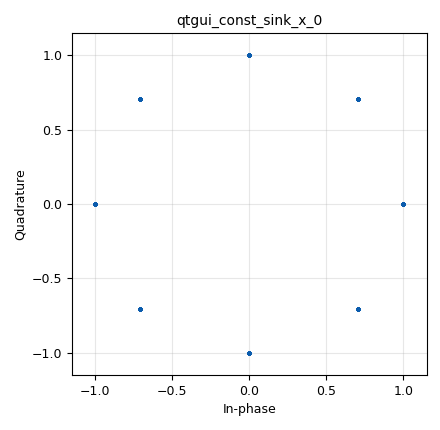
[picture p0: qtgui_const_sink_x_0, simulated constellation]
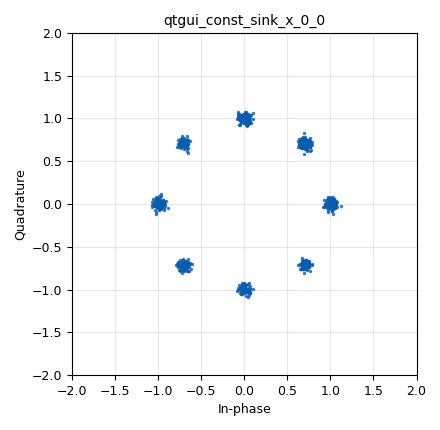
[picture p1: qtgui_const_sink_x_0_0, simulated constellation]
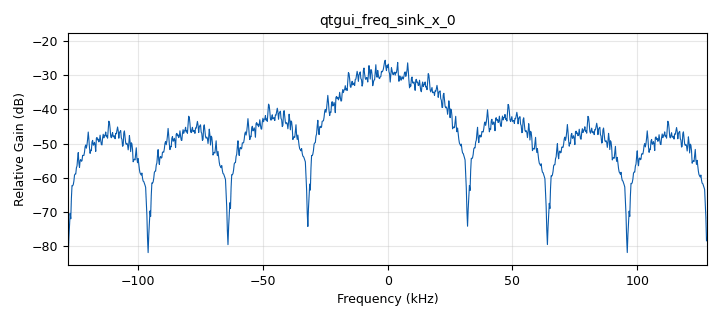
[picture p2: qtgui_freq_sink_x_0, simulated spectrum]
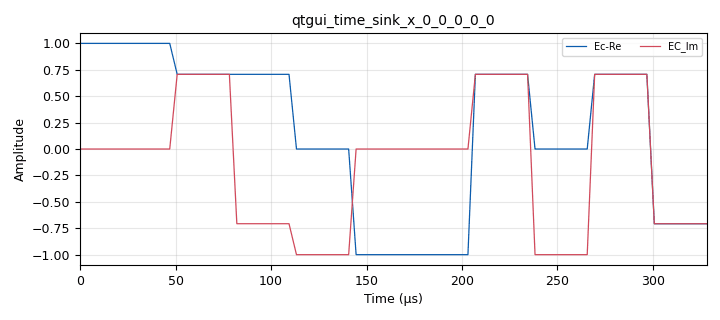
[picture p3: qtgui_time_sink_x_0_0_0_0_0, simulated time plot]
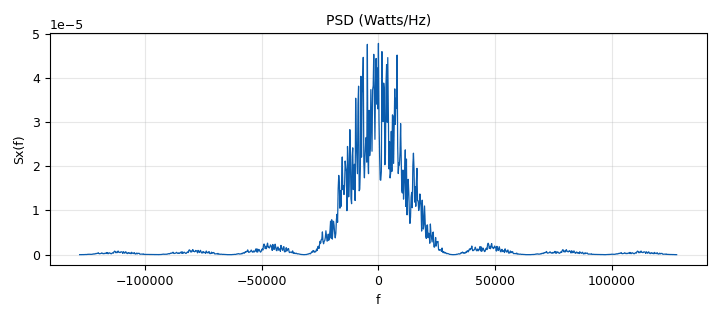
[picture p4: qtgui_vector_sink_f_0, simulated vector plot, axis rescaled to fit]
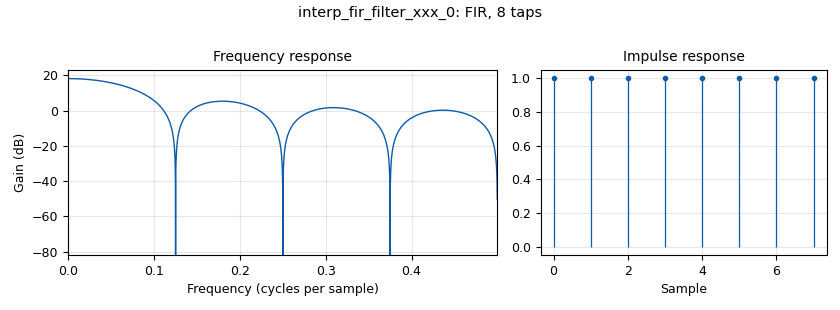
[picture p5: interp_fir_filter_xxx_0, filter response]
options:
  parameters:
    generate_options: qt_gui
    id: MPSK
    output_language: python
    title: MPSK
  states: {}

blocks:
- name: M
  id: variable
  parameters:
    value: '8'
  states: {}
- name: N
  id: variable
  parameters:
    value: '1024'
  states: {}
- name: Nbps
  id: variable
  parameters:
    value: int(math.log(M,2))
  states: {}
- name: Rb
  id: variable
  parameters:
    value: '32000'
  states: {}
- name: Rs
  id: variable
  parameters:
    value: Rb
  states: {}
- name: Sps
  id: variable
  parameters:
    value: len(h)
  states: {}
- name: h
  id: variable
  parameters:
    value: (1. ,1. ,1. ,1. ,1. ,1. ,1. ,1.)
  states: {}
- name: samp_rate
  id: variable
  parameters:
    value: Rs*Sps
  states: {}
- name: analog_const_source_x_0
  id: analog_const_source_x
  parameters:
    const: '1.'
    type: float
  states: {}
- name: analog_noise_source_x_0
  id: analog_noise_source_x
  parameters:
    amp: '0.05'
    noise_type: analog.GR_GAUSSIAN
    seed: '0'
    type: complex
  states: {}
- name: analog_random_source_x_0
  id: analog_random_source_x
  parameters:
    max: '2'
    min: '0'
    num_samps: '1000'
    repeat: 'True'
    type: byte
  states: {}
- name: blocks_add_xx_0
  id: blocks_add_xx
  parameters:
    type: complex
  states: {}
- name: blocks_char_to_float_0
  id: blocks_char_to_float
  parameters:
    scale: '1'
  states: {state: disabled}
- name: blocks_char_to_float_0_0
  id: blocks_char_to_float
  parameters:
    scale: '1'
  states: {state: disabled}
- name: blocks_char_to_float_0_0_0
  id: blocks_char_to_float
  parameters:
    scale: '1'
  states: {}
- name: blocks_complex_to_mag_squared_0
  id: blocks_complex_to_mag_squared
  parameters:
    vlen: N
  states: {}
- name: blocks_multiply_const_vxx_0
  id: blocks_multiply_const_vxx
  parameters:
    const: 2*math.pi/M
    type: float
  states: {}
- name: blocks_multiply_const_vxx_1
  id: blocks_multiply_const_vxx
  parameters:
    const: '[1/(N*samp_rate)]*N'
    type: float
    vlen: N
  states: {}
- name: blocks_repack_bits_bb_0
  id: blocks_repack_bits_bb
  parameters:
    endianness: gr.GR_LSB_FIRST
    k: '1'
    l: Nbps
  states: {}
- name: blocks_stream_to_vector_0
  id: blocks_stream_to_vector
  parameters:
    num_items: N
    type: complex
  states: {}
- name: epy_block_0
  id: epy_block
  parameters:
    _source_code: |
      """
      Embedded Python Blocks:

      Each time this file is saved, GRC will instantiate the first class it finds
      to get ports and parameters of your block. The arguments to __init__  will
      be the parameters. All of them are required to have default values!
      """

      import numpy as np
      from gnuradio import gr


      class blk(gr.sync_block):  # other base classes are basic_block, decim_block, interp_block
          """Embedded Python Block example - a simple multiply const"""

          def __init__(self, example_param=1.0):  # only default arguments here
              """arguments to this function show up as parameters in GRC"""
              gr.sync_block.__init__(
                  self,
                  name='VCO cOMPLEX',   # will show up in GRC
                  in_sig=[np.float32,np.float32],
                  out_sig=[np.complex64]
              )
              # if an attribute with the same name as a parameter is found,
              # a callback is registered (properties work, too).
              self.example_param = example_param

          def work(self, input_items, output_items):
              Q=input_items[0]
              A=input_items[1]
              Sec=output_items[0]
              Sec[:]=A*np.exp(1.j*Q)
              return len(Sec)
    example_param: '1.0'
  states: {}
- name: epy_block_0_1
  id: epy_block
  parameters:
    N: N
    _source_code: |
      import numpy as np
      from gnuradio import gr


      class blk(gr.sync_block):  
          """vector averager. N is the lengh of the vector"""

          def __init__(self, N=1024):
              gr.sync_block.__init__(
                  self,
                  name='e_vec_averager_ff',   
                  in_sig=[(np.float32,N)],
                  out_sig=[(np.float32,N)]
              )
              self.N = N
              self.rows_counter=0
              self.sum=0

          def work(self, input_items, output_items):
              x=input_items[0]
              y=output_items[0]
              self.sum += np.sum(x, axis=0)
              self.rows_counter += len(x)
              y[:]=self.sum/self.rows_counter
              return len(output_items[0])
  states: {}
- name: epy_block_1
  id: epy_block
  parameters:
    Ec: '0'
    Fmuestreo: samp_rate
    N_FFT: '1024'
    N_ensayos: '1000000'
    Titulo: '"PSD"'
    Tmax: '6e-6'
    _source_code: |
      import numpy as np
      from gnuradio import gr

      class blk(gr.sync_block):
          """Bloque PSD sin matplotlib - Calcula la densidad espectral de potencia"""

          def __init__(self, N_ensayos=1000000, Ec=0, N_FFT=1024, Titulo="PSD", Tmax=1e-6, Fmuestreo=1e6):
              gr.sync_block.__init__(
                  self,
                  name='PSD Block',
                  in_sig=[np.complex64],  # Solo entrada
                  out_sig=None             # Sin salida
              )

              # Parámetros del bloque
              self.N_ensayos = int(N_ensayos)
              self.Ec = Ec
              self.N_FFT = int(N_FFT)
              self.Titulo = Titulo
              self.Tmax = Tmax
              self.Fmuestreo = Fmuestreo

          def work(self, input_items, output_items):
              data = input_items[0]

              if len(data) == 0:
                  return 0

              # Calcula FFT y PSD (en dB)
              fft_data = np.fft.fftshift(np.fft.fft(data, self.N_FFT))
              psd = 10 * np.log10(np.abs(fft_data)**2 / self.N_FFT)

              # Puedes imprimir parte de la PSD si quieres verificar
              print(f"[{self.Titulo}] PSD (primeros 5 valores): {psd[:5]} dB")

              # Si luego quieres enviar esta info a un archivo o a otro bloque,
              # aquí es donde puedes implementarlo.

              return len(data)
  states: {}
- name: fft_vxx_0
  id: fft_vxx
  parameters:
    fft_size: N
    forward: 'True'
    shift: 'True'
    type: complex
    window: '[1]*N'
  states: {}
- name: import_0
  id: import
  parameters:
    imports: import math
  states: {}
- name: interp_fir_filter_xxx_0
  id: interp_fir_filter_xxx
  parameters:
    interp: Sps
    taps: h
    type: ccc
  states: {}
- name: qtgui_const_sink_x_0
  id: qtgui_const_sink_x
  parameters:
    autoscale: 'True'
    grid: 'True'
    size: '1024'
    type: complex
  states: {}
- name: qtgui_const_sink_x_0_0
  id: qtgui_const_sink_x
  parameters:
    size: '1024'
    type: complex
  states: {}
- name: qtgui_freq_sink_x_0
  id: qtgui_freq_sink_x
  parameters:
    autoscale: 'True'
    average: '0.05'
    bw: samp_rate
    fc: '0'
    fftsize: '1024'
    grid: 'True'
    type: complex
  states: {}
- name: qtgui_time_sink_x_0
  id: qtgui_time_sink_x
  parameters:
    autoscale: 'True'
    grid: 'True'
    label1: Binary
    marker1: '0'
    size: '32'
    srate: Rb
    stemplot: 'True'
    type: float
    width1: '3'
  states: {state: disabled}
- name: qtgui_time_sink_x_0_0
  id: qtgui_time_sink_x
  parameters:
    autoscale: 'True'
    color1: red
    grid: 'True'
    label1: M-Pam
    marker1: '0'
    size: int(32/Nbps)
    srate: Rs
    stemplot: 'True'
    type: float
    width1: '3'
  states: {state: disabled}
- name: qtgui_time_sink_x_0_0_0
  id: qtgui_time_sink_x
  parameters:
    autoscale: 'True'
    color1: green
    grid: 'True'
    label1: M_Pam_MOD
    marker1: '0'
    size: int(32/Nbps)
    srate: Rs
    stemplot: 'True'
    type: float
    width1: '3'
  states: {state: disabled}
- name: qtgui_time_sink_x_0_0_0_0
  id: qtgui_time_sink_x
  parameters:
    autoscale: 'True'
    grid: 'True'
    label1: Ec-Re
    label2: EC_Im
    marker1: '0'
    marker2: '0'
    size: int(32/Nbps)
    srate: Rs
    stemplot: 'True'
    type: complex
    width1: '3'
    width2: '3'
  states: {state: disabled}
- name: qtgui_time_sink_x_0_0_0_0_0
  id: qtgui_time_sink_x
  parameters:
    autoscale: 'True'
    grid: 'True'
    label1: Ec-Re
    label2: EC_Im
    size: int(32*Sps/Nbps)
    srate: samp_rate
    type: complex
    width1: '3'
    width2: '3'
  states: {}
- name: qtgui_vector_sink_f_0
  id: qtgui_vector_sink_f
  parameters:
    label1: p4
    name: '"PSD (Watts/Hz)"'
    vlen: N
    x_axis_label: '"f"'
    x_start: '-samp_rate/2'
    x_step: samp_rate/N
    x_units: '"Hz"'
    y_axis_label: '"Sx(f)"'
    y_units: '"Watss/Hz"'
    ymax: 1/Rb
    ymin: '0'
  states: {}

connections:
- [analog_const_source_x_0, '0', epy_block_0, '1']
- [analog_noise_source_x_0, '0', blocks_add_xx_0, '1']
- [analog_random_source_x_0, '0', blocks_char_to_float_0, '0']
- [analog_random_source_x_0, '0', blocks_repack_bits_bb_0, '0']
- [blocks_add_xx_0, '0', qtgui_const_sink_x_0_0, '0']
- [blocks_char_to_float_0, '0', qtgui_time_sink_x_0, '0']
- [blocks_char_to_float_0_0, '0', qtgui_time_sink_x_0_0, '0']
- [blocks_char_to_float_0_0_0, '0', blocks_multiply_const_vxx_0, '0']
- [blocks_complex_to_mag_squared_0, '0', epy_block_0_1, '0']
- [blocks_multiply_const_vxx_0, '0', epy_block_0, '0']
- [blocks_multiply_const_vxx_0, '0', qtgui_time_sink_x_0_0_0, '0']
- [blocks_multiply_const_vxx_1, '0', qtgui_vector_sink_f_0, '0']
- [blocks_repack_bits_bb_0, '0', blocks_char_to_float_0_0, '0']
- [blocks_repack_bits_bb_0, '0', blocks_char_to_float_0_0_0, '0']
- [blocks_stream_to_vector_0, '0', fft_vxx_0, '0']
- [epy_block_0, '0', interp_fir_filter_xxx_0, '0']
- [epy_block_0, '0', qtgui_const_sink_x_0, '0']
- [epy_block_0, '0', qtgui_time_sink_x_0_0_0_0, '0']
- [epy_block_0_1, '0', blocks_multiply_const_vxx_1, '0']
- [fft_vxx_0, '0', blocks_complex_to_mag_squared_0, '0']
- [interp_fir_filter_xxx_0, '0', blocks_add_xx_0, '0']
- [interp_fir_filter_xxx_0, '0', blocks_stream_to_vector_0, '0']
- [interp_fir_filter_xxx_0, '0', epy_block_1, '0']
- [interp_fir_filter_xxx_0, '0', qtgui_freq_sink_x_0, '0']
- [interp_fir_filter_xxx_0, '0', qtgui_time_sink_x_0_0_0_0_0, '0']

metadata:
  file_format: 1
  grc_version: 3.10.12.0
